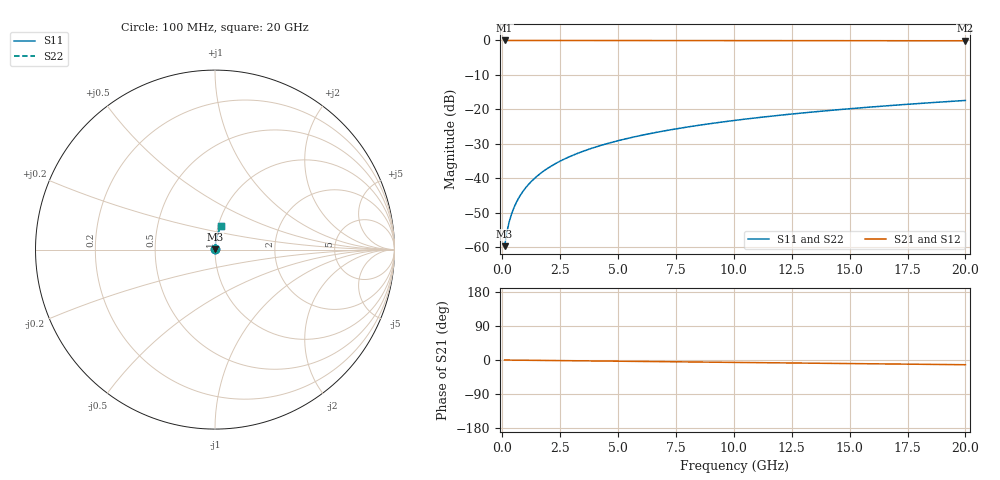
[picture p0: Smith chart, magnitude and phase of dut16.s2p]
! Touchstone file exported from HFSS 2026.1.0
!  File:  C:/ffzhzh/LocalFiles/Ansys_Project_Files/temp_train_BSMRDL_16_1782881949_42304.aedt
!  Generated:  01:00:17 PM Jul  1, 2026
!  Design:  BSMRDL
!  Project:  temp_train_BSMRDL_16_1782881949_42304
! Variables:
!  h_bsmrdl = 4.8um
!  h_ox = 20um
!  h_rdl = 5um
!  h_sub = 80um
!  h_tmrdl = 5um
!  h_tsv = 80um
!  h_via = 3um
!  l_bsmrdl = 141.85um
!  l_sub = 541.85um
!  l_tmrdl = 200um
!  m_sub = 200um
!  pitch = 46.85um
!  r_tsv = 6um
!  s_tmrdl = 10um
!  w_bsmrdl = 18.5um
!  w_sub = 500um
!  w_tmrdl = 12um
!  x_tsv_center1 = 206um
!  x_tsv_center2 = 366.35um
!  x_tsv_center3 = 578.35um
!  x_tsv_center4 = 738.7um
!  x_tsv_center5 = 950.7um
!  x_tsv_center6 = 1111.05um
# GHz S MA R 50.000000
! Terminal data exported
! Port[1] = BSM_RDL1_1_T1
! Port[2] = BSM_RDL1_1_T2
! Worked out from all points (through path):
!   200 points, 100 MHz to 20 GHz, reference 50 ohm
!   highest |S21| = -0.01 dB at 100 MHz (marker M1); lowest = -0.1 dB at 20 GHz (marker M2)
!   group delay of S21, straight-line fit = 1.73 ps
!   lowest |S11| = -59.6 dB at 100 MHz (marker M3), VSWR 1.00, Z = 50.1 + j0.0761 ohm
!   |S11| at or under -10 dB: start of sweep to end of sweep
!   |S22| runs from -59.6 to -17.4 dB; largest |S21 - S12| = 3.6e-15
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0.1  0.001042 46.8  0.9993 -0.1  0.9993 -0.1  0.001042 46.8
! Gamma 0 0 0 0
! Port Impedance 50 0 50 0
0.2  0.001678 63.6  0.9993 -0.1  0.9993 -0.1  0.001678 63.6
0.3  0.002361 70.6  0.9992 -0.2  0.9992 -0.2  0.002361 70.6
0.4  0.003052 74.4  0.9992 -0.3  0.9992 -0.3  0.003052 74.4
0.5  0.003746 76.9  0.9992 -0.3  0.9992 -0.3  0.003746 76.9
0.7  0.005141 79.9  0.9991 -0.5  0.9991 -0.5  0.005141 79.9
0.8  0.005842 80.9  0.9991 -0.5  0.9991 -0.5  0.005842 80.9
1  0.007248 82.2  0.9991 -0.6  0.9991 -0.6  0.007248 82.2
1.2  0.008658 83.1  0.999 -0.8  0.999 -0.8  0.008658 83.1
1.4  0.01007 83.7  0.999 -0.9  0.999 -0.9  0.01007 83.7
1.7  0.01219 84.3  0.9989 -1.1  0.9989 -1.1  0.01219 84.3
2  0.01431 84.6  0.9989 -1.3  0.9989 -1.3  0.01431 84.6
2.7  0.01923 84.8  0.9987 -1.7  0.9987 -1.7  0.01923 84.8
3.5  0.02483 84.7  0.9984 -2.2  0.9984 -2.2  0.02483 84.7
4.2  0.02969 84.5  0.9981 -2.7  0.9981 -2.7  0.02969 84.5
5  0.03521 84.2  0.9978 -3.2  0.9978 -3.2  0.03521 84.2
6.8  0.04751 83.3  0.9969 -4.3  0.9969 -4.3  0.04751 83.3
8.3  0.05767 82.5  0.9961 -5.3  0.9961 -5.3  0.05767 82.5
10.1  0.06977 81.6  0.9951 -6.4  0.9951 -6.4  0.06977 81.6
13.4  0.09176 79.8  0.9929 -8.4  0.9929 -8.4  0.09176 79.8
16.7  0.1135 77.9  0.9903 -10.5  0.9903 -10.5  0.1135 77.9
20  0.1349 76.0  0.9873 -12.5  0.9873 -12.5  0.1349 76.0
